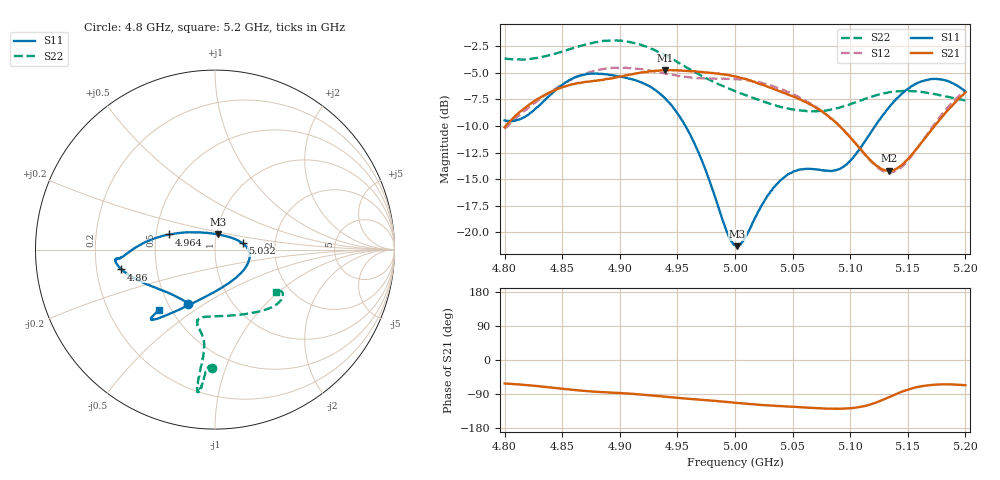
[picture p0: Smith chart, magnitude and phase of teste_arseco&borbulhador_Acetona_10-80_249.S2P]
! Network Analyzer HP8722D
! Hewlett-Packard
! Data name: Linha & Wilkinson
! Saver's name: Rodrigo Anjos
! Comments: Teste da utilização de aquisição
! continua pelo VNA HP8722D
! Time and date: 17/4/2025 16:26
!  Frequency  S11  S21  S12  S22
# HZ  S  MA R 50
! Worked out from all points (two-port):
!   401 points, 4.8 GHz to 5.2 GHz, reference 50 ohm
!   highest |S21| = -4.73 dB at 4.939 GHz (marker M1); lowest = -14.2 dB at 5.134 GHz (marker M2)
!   |S21| within 3 dB of the highest: 4.825 GHz to 5.061 GHz (236.2 MHz wide, 4.78 % of centre); 5.191464 GHz to end of sweep
!   lowest |S11| = -21.3 dB at 5.002 GHz (marker M3), VSWR 1.19, Z = 51 + j8.66 ohm
!   |S11| at or under -10 dB: 4.957 GHz to 5.122 GHz (164.5 MHz wide, 3.26 % of centre)
!   |S22| runs from -8.6 to -1.9 dB; largest |S21 - S12| = 0.87
!   S11 on the Smith chart (normalised r, x): 4.8 GHz: 0.63, -0.43; 4.86 GHz: 0.31, -0.09; 4.964 GHz: 0.59, +0.11; 5.032 GHz: 1.36, +0.10; 5.2 GHz: 0.43, -0.37
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4.8e9  0.3362 -116.4  0.3121 -62.1  0.3064 -176.4  0.6581 -91.3
4.818e9  0.3504 -135.6  0.3865 -65.9  0.3757 -175.8  0.6511 -92.8
4.86e9  0.5331 -168.1  0.4992 -79.0  0.5292 -179.2  0.7361 -95.1
4.867e9  0.5489 -170.8  0.5074 -81.1  0.5497 179.5  0.7568 -95.5
4.9e9  0.5412 -174.8  0.5404 -87.2  0.5943 173.4  0.798 -97.0
4.934e9  0.4534 179.3  0.576 -95.4  0.5664 170.3  0.703 -97.2
4.939e9  0.4288 177.3  0.5799 -96.7  0.5608 170.2  0.6823 -97.0
4.964e9  0.2677 161.6  0.5732 -103.4  0.534 172.2  0.571 -96.2
4.993e9  0.1003 113.0  0.5507 -110.8  0.5279 174.4  0.4796 -98.8
5e9  0.08711 87.0  0.5422 -112.9  0.5262 174.5  0.4617 -100.1
5.002e9  0.08603 78.6  0.5385 -113.4  0.5249 174.4  0.459 -100.6
5.009e9  0.09451 53.8  0.5269 -115.3  0.5208 174.2  0.4421 -102.0
5.032e9  0.1578 12.8  0.476 -120.4  0.4891 173.2  0.4 -103.5
5.048e9  0.1899 -2.6  0.441 -123.0  0.4527 172.4  0.3809 -99.3
5.067e9  0.1985 -22.9  0.3964 -126.5  0.4006 172.4  0.3712 -88.6
5.096e9  0.2073 -73.3  0.2952 -128.2  0.2957 174.7  0.3944 -66.1
5.121e9  0.3123 -110.9  0.2096 -114.1  0.2075 -169.1  0.439 -49.5
5.134e9  0.3891 -120.9  0.1949 -97.8  0.1907 -150.8  0.4566 -43.2
5.146e9  0.4543 -126.5  0.21 -82.4  0.2056 -133.0  0.4628 -38.7
5.168e9  0.5233 -131.7  0.2917 -66.9  0.2952 -113.1  0.4514 -33.3
5.184e9  0.5159 -133.0  0.3725 -64.4  0.384 -108.7  0.4352 -32.2
5.2e9  0.4592 -133.0  0.4547 -66.5  0.4649 -108.6  0.4172 -34.8
